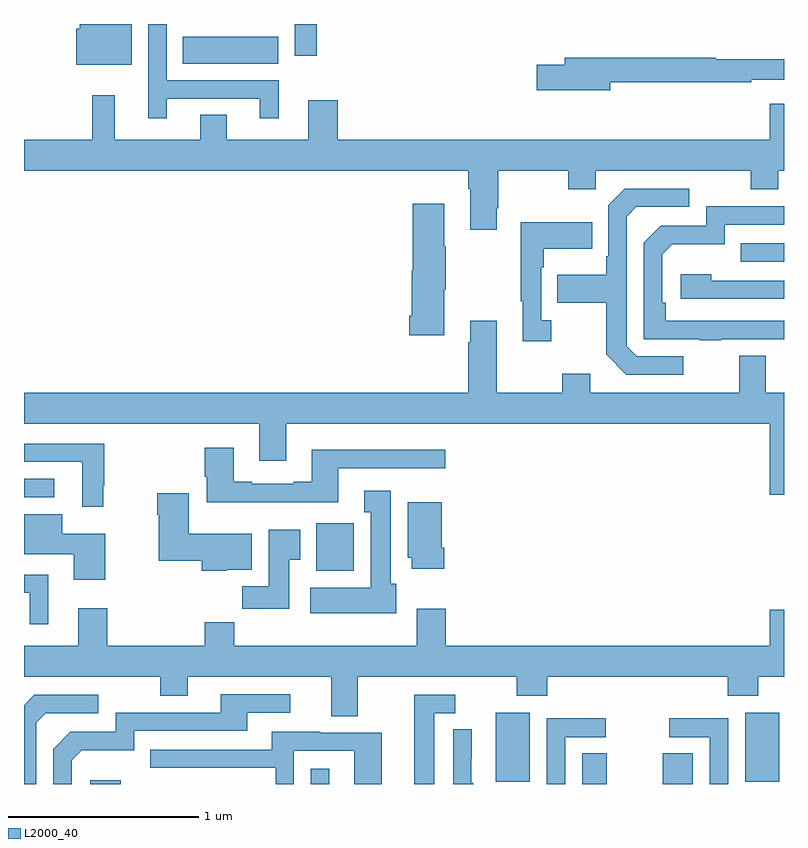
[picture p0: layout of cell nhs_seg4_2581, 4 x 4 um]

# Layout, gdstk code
import gdstk
lib = gdstk.Library(unit=1e-6, precision=1e-09)
def R(c, l, rs):  # rectangles x0, y0, x1, y1
    for r in rs: c.add(gdstk.rectangle(r[:2], r[2:], *l))
def P(c, l, *ps):  # polygons
    for p in ps: c.add(gdstk.Polygon(p, *l))
L2000_40 = (2000, 40)

nhs_seg4_2581 = lib.new_cell('nhs_seg4_2581')
R(nhs_seg4_2581, L2000_40, [(245.349,818.9,245.51,818.92), (246.51,818.9,246.607,818.98), (247.937,818.9,248.068,819.062), (248.363,818.9,248.521,819.062), (247.484,818.913,247.663,819.274), (248.795,818.913,248.974,819.274), (246.539,820.022,246.735,820.273), (245,820.41,245.158,820.506), (248.773,821.649,249,821.745), (245.836,822.692,246.337,822.832), (246.426,822.732,246.542,822.9)])
P(nhs_seg4_2581, L2000_40, [(245.566,822.9),(245.294,822.9),(245.294,822.876),(245.276,822.876),(245.276,822.686),(245.566,822.686)],
  [(245.752,822.507),(246.242,822.507),(246.242,822.405),(246.34,822.405),(246.34,822.603),(245.751,822.603),(245.751,822.9),(245.655,822.9),(245.655,822.405),(245.752,822.405)],
  [(248.086,822.594),(248.828,822.594),(248.828,822.606),(249,822.606),(249,822.715),(248.641,822.715),(248.641,822.722),(247.847,822.722),(247.847,822.686),(247.698,822.686),(247.698,822.551),(248.086,822.551)],
  [(247.489,821.929),(247.497,821.929),(247.497,822.128),(247.864,822.128),(247.864,822.029),(248.01,822.029),(248.01,822.128),(248.824,822.128),(248.824,822.029),(248.971,822.029),(248.971,822.128),(249,822.128),(249,822.481),(248.924,822.481),(248.924,822.292),(246.65,822.292),(246.65,822.499),(246.497,822.499),(246.497,822.292),(246.067,822.292),(246.067,822.422),(245.927,822.422),(245.927,822.292),(245.477,822.292),(245.477,822.526),(245.359,822.526),(245.359,822.292),(245,822.292),(245,822.128),(247.337,822.128),(247.337,822.032),(247.349,822.032),(247.349,821.817),(247.489,821.817)],
  [(248.47,821.151),(248.226,821.151),(248.172,821.205),(248.172,821.886),(248.223,821.937),(248.5,821.937),(248.5,822.033),(248.163,822.033),(248.076,821.946),(248.076,821.677),(248.064,821.677),(248.064,821.581),(247.807,821.581),(247.807,821.434),(248.064,821.434),(248.064,821.161),(248.169,821.055),(248.47,821.055)],
  [(247.213,821.501),(247.221,821.501),(247.221,821.729),(247.213,821.729),(247.213,821.953),(247.046,821.953),(247.046,821.601),(247.04,821.601),(247.04,821.365),(247.028,821.365),(247.028,821.261),(247.213,821.261)],
  [(248.669,821.241),(249,821.241),(249,821.337),(248.378,821.337),(248.378,821.434),(248.358,821.434),(248.358,821.688),(248.411,821.741),(248.688,821.741),(248.688,821.844),(249,821.844),(249,821.94),(248.592,821.94),(248.592,821.838),(248.352,821.838),(248.262,821.748),(248.262,821.241),(248.557,821.241),(248.557,821.236),(248.669,821.236)],
  [(247.774,821.342),(247.722,821.342),(247.722,821.621),(247.735,821.621),(247.735,821.717),(247.991,821.717),(247.991,821.857),(247.614,821.857),(247.614,821.441),(247.625,821.441),(247.625,821.229),(247.774,821.229)],
  [(249,821.55),(248.618,821.55),(248.618,821.584),(248.457,821.584),(248.457,821.454),(249,821.454)],
  [(249,820.96),(248.905,820.96),(248.905,821.155),(248.765,821.155),(248.765,820.96),(247.981,820.96),(247.981,821.059),(247.834,821.059),(247.834,820.96),(247.489,820.96),(247.489,821.338),(247.349,821.338),(247.349,821.225),(247.337,821.225),(247.337,820.96),(245,820.96),(245,820.796),(246.239,820.796),(246.239,820.602),(246.379,820.602),(246.379,820.796),(248.924,820.796),(248.924,820.422),(249,820.422)],
  [(245.416,820.471),(245.423,820.471),(245.423,820.692),(245,820.692),(245,820.596),(245.306,820.596),(245.306,820.359),(245.416,820.359)],
  [(246.655,820.563),(247.216,820.563),(247.216,820.66),(246.515,820.66),(246.515,820.492),(246.419,820.492),(246.419,820.479),(246.199,820.479),(246.199,820.492),(246.103,820.492),(246.103,820.669),(245.951,820.669),(245.951,820.516),(245.963,820.516),(245.963,820.382),(246.655,820.382)],
  [(246.958,819.954),(246.931,819.954),(246.931,820.444),(246.791,820.444),(246.791,820.331),(246.824,820.331),(246.824,819.934),(246.507,819.934),(246.507,819.8),(246.958,819.8)],
  [(246.066,820.028),(246.199,820.028),(246.199,820.216),(245.866,820.216),(245.866,820.429),(245.701,820.429),(245.701,820.316),(245.708,820.316),(245.708,820.076),(245.936,820.076),(245.936,820.022),(246.066,820.022)],
  [(247.211,820.144),(247.198,820.144),(247.198,820.384),(247.019,820.384),(247.019,820.092),(247.04,820.092),(247.04,820.032),(247.211,820.032)],
  [(245.428,820.216),(245.2,820.216),(245.2,820.321),(245,820.321),(245,820.109),(245.261,820.109),(245.261,819.975),(245.428,819.975)],
  [(246.397,820.081),(246.454,820.081),(246.454,820.237),(246.287,820.237),(246.287,819.94),(246.148,819.94),(246.148,819.822),(246.397,819.822)],
  [(245.128,820.002),(245,820.002),(245,819.906),(245.03,819.906),(245.03,819.741),(245.128,819.741)],
  [(246.757,819.464),(247.594,819.464),(247.594,819.365),(247.754,819.365),(247.754,819.464),(248.705,819.464),(248.705,819.365),(248.865,819.365),(248.865,819.464),(249,819.464),(249,819.817),(248.924,819.817),(248.924,819.628),(247.22,819.628),(247.22,819.823),(247.067,819.823),(247.067,819.628),(246.107,819.628),(246.107,819.752),(245.951,819.752),(245.951,819.628),(245.438,819.628),(245.438,819.826),(245.285,819.826),(245.285,819.628),(245,819.628),(245,819.464),(245.716,819.464),(245.716,819.365),(245.863,819.365),(245.863,819.464),(246.617,819.464),(246.617,819.256),(246.757,819.256)],
  [(245.25,819.024),(245.303,819.077),(245.58,819.077),(245.58,819.18),(246.175,819.18),(246.175,819.276),(246.4,819.276),(246.4,819.372),(246.035,819.372),(246.035,819.276),(245.484,819.276),(245.484,819.174),(245.244,819.174),(245.154,819.084),(245.154,818.9),(245.25,818.9)],
  [(247.159,819.273),(247.27,819.273),(247.27,819.369),(247.055,819.369),(247.055,818.9),(247.159,818.9)],
  [(245.064,819.222),(245.115,819.273),(245.392,819.273),(245.392,819.369),(245.055,819.369),(245,819.314),(245,818.9),(245.064,818.9)],
  [(247.848,819.147),(248.062,819.147),(248.062,819.246),(247.752,819.246),(247.752,818.9),(247.848,818.9)],
  [(248.706,819.246),(248.397,819.246),(248.397,819.147),(248.61,819.147),(248.61,818.9),(248.706,818.9)],
  [(247.355,818.912),(247.355,819.034),(247.356,819.034),(247.356,819.188),(247.26,819.188),(247.26,818.9),(247.367,818.9)],
  [(246.42,819.075),(246.738,819.075),(246.738,818.9),(246.883,818.9),(246.883,819.171),(246.559,819.171),(246.559,819.175),(246.305,819.175),(246.305,819.081),(245.665,819.081),(245.665,818.985),(246.324,818.985),(246.324,818.9),(246.42,818.9)])

lib.write_gds('nhs_seg4_2581.gds')
